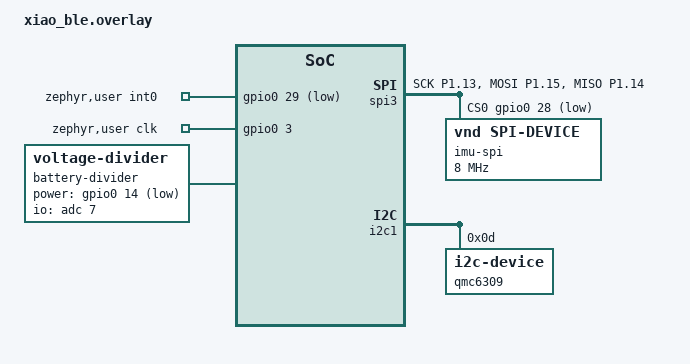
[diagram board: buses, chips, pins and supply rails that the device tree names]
/* === Seeed XIAO nRF52840 (non-Sense) — Smol Slime overlay === */

 / {
	/* Firmware reads GPIOs from here */
	zephyr,user {
		/* IMU interrupt on D3 / P0.29 (active-low) */
		int0-gpios = <&gpio0 29 GPIO_ACTIVE_LOW>;
		/* External IMU clock enable on D1 / P0.03 (if used) */
		clk-gpios  = <&gpio0 3 GPIO_ACTIVE_HIGH>;
	};

	/* Battery sense divider — use literals, not expressions */
	battery-divider {
		compatible = "voltage-divider";
		status = "okay";
		io-channels = <&adc 7>;
		output-ohms = <510000>;
		full-ohms   = <1510000>; /* 1M + 510k */
		power-gpios = <&gpio0 14 (GPIO_OPEN_DRAIN|GPIO_ACTIVE_LOW)>;
	};

	/* Aliases some firmware paths use */
	aliases {
		imu = &imu_spi; /* DT_ALIAS(imu) -> SPI IMU node */
		mag = &mag;     /* DT_ALIAS(mag) -> I2C magnetometer node */
	};
 }; /* <-- terminate root node */

/*
 * ---- SPI3 for IMU ----
 * D8  = P1.13 = SCK
 * D9  = P1.14 = MISO
 * D10 = P1.15 = MOSI
 * D2  = P0.28 = CS
 *
 * Using SPI3 avoids the SPIM1/TWIM1 instance clash with I²C1.
 */
&pinctrl {
	spi3_default: spi3_default {
		group1 {
			psels = <NRF_PSEL(SPIM_SCK,  1, 13)>,
			        <NRF_PSEL(SPIM_MOSI, 1, 15)>,
			        <NRF_PSEL(SPIM_MISO, 1, 14)>;
		};
	};
	spi3_sleep: spi3_sleep {
		group1 {
			psels = <NRF_PSEL(SPIM_SCK,  1, 13)>,
			        <NRF_PSEL(SPIM_MOSI, 1, 15)>,
			        <NRF_PSEL(SPIM_MISO, 1, 14)>;
			low-power-enable;
		};
	};
};

&spi3 {
	status = "okay";
	pinctrl-0 = <&spi3_default>;
	pinctrl-1 = <&spi3_sleep>;
	pinctrl-names = "default", "sleep";

	/* GPIO CS (D2 / P0.28) */
	cs-gpios = <&gpio0 28 GPIO_ACTIVE_LOW>;

	/* Minimal child so the generic binding accepts it */
	imu_spi: imu_spi@0 {
		compatible = "vnd,spi-device";
		reg = <0>;                    /* CS index */
		spi-max-frequency = <8000000>;
		label = "imu-spi";
	};
};

/*
 * ---- I²C1 for magnetometer (QMC6309 @ 0x0D) ----
 * Board pinctrl is already set for I²C1 on XIAO BLE.
 */
&i2c1 {
	mag: mag@0d {
		compatible = "i2c-device";
		reg = <0x0d>;
		label = "qmc6309";
	};
}; /* terminate referenced node */

/* ---- Disable / remove unused peripherals ---- */
 /delete-node/ &uart0;
 /delete-node/ &spi2;
 /delete-node/ &qspi;
&cryptocell { status = "disabled"; };
&nfct       { status = "disabled"; };
